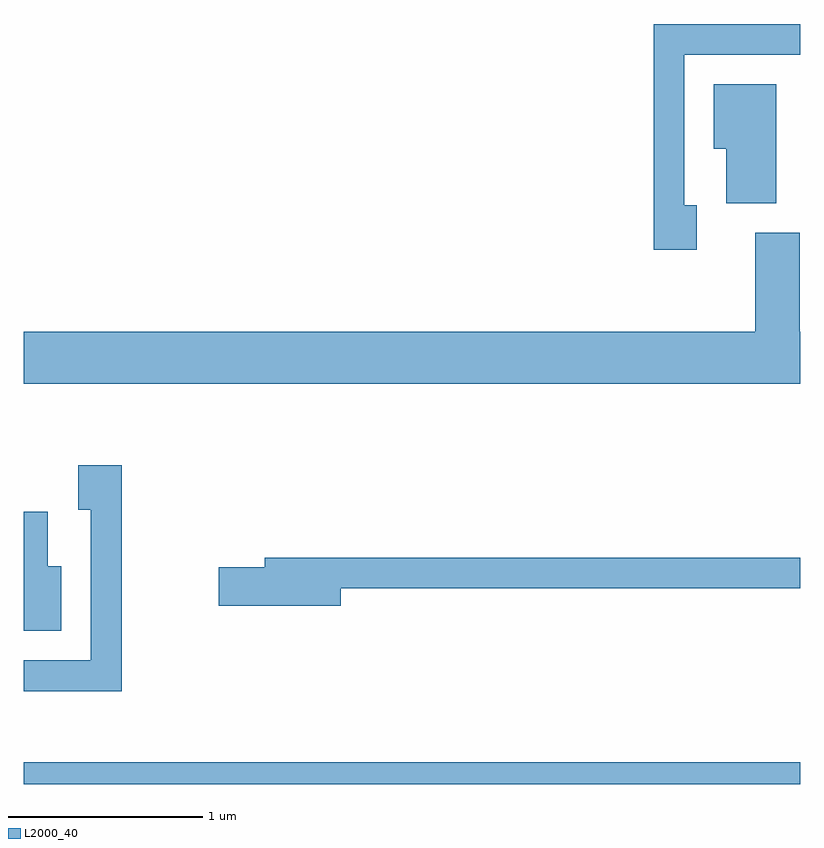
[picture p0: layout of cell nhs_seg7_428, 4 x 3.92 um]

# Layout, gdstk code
import gdstk
lib = gdstk.Library(unit=1e-6, precision=1e-09)
def R(c, l, rs):  # rectangles x0, y0, x1, y1
    for r in rs: c.add(gdstk.rectangle(r[:2], r[2:], *l))
def P(c, l, *ps):  # polygons
    for p in ps: c.add(gdstk.Polygon(p, *l))
L2000_40 = (2000, 40)

nhs_seg7_428 = lib.new_cell('nhs_seg7_428')
R(nhs_seg7_428, L2000_40, [(197.611,1712.252,201.611,1712.364)])
P(nhs_seg7_428, L2000_40, [(201.079,1715.234),(201.014,1715.234),(201.014,1716.011),(201.611,1716.011),(201.611,1716.169),(200.856,1716.169),(200.856,1715.006),(201.079,1715.006)],
  [(201.489,1715.859),(201.166,1715.859),(201.166,1715.526),(201.231,1715.526),(201.231,1715.246),(201.489,1715.246)],
  [(201.611,1714.584),(201.609,1714.584),(201.609,1715.094),(201.381,1715.094),(201.381,1714.584),(197.611,1714.584),(197.611,1714.316),(201.611,1714.316)],
  [(198.114,1713.894),(197.891,1713.894),(197.891,1713.666),(197.956,1713.666),(197.956,1712.889),(197.611,1712.889),(197.611,1712.731),(198.114,1712.731)],
  [(197.804,1713.374),(197.734,1713.374),(197.734,1713.654),(197.611,1713.654),(197.611,1713.041),(197.804,1713.041)],
  [(199.244,1713.261),(201.611,1713.261),(201.611,1713.419),(198.851,1713.419),(198.851,1713.369),(198.616,1713.369),(198.616,1713.171),(199.244,1713.171)])

lib.write_gds('nhs_seg7_428.gds')
